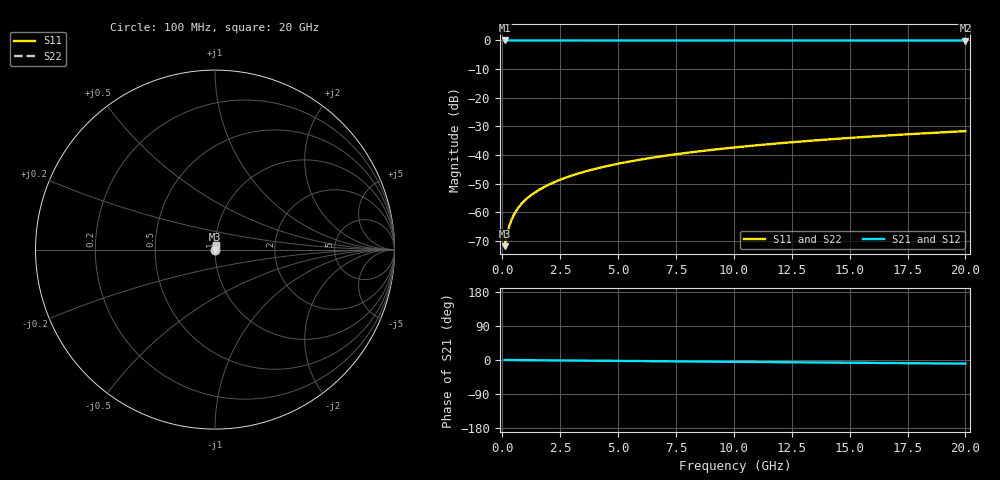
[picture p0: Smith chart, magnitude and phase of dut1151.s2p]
! Touchstone file exported from HFSS 2026.1.0
!  File:  C:/ffzhzh/LocalFiles/Ansys_Project_Files/temp_train_TSV_1151_1783191568_55132.aedt
!  Generated:  03:00:52 AM Jul  5, 2026
!  Design:  TSV
!  Project:  temp_train_TSV_1151_1783191568_55132
! Variables:
!  h_bsmrdl = 2um
!  h_ox = 20um
!  h_rdl = 5um
!  h_sub = 96.2um
!  h_tmrdl = 5um
!  h_tsv = 96.2um
!  h_via = 3um
!  l_bsmrdl = 300um
!  l_sub = 417.5um
!  l_tmrdl = 200um
!  m_sub = 200um
!  pitch = 43.16um
!  r_tsv = 8.75um
!  s_tmrdl = 10um
!  w_bsmrdl = 18um
!  w_sub = 500um
!  w_tmrdl = 12um
!  x_tsv_center1 = 206um
!  x_tsv_center2 = 524um
!  x_tsv_center3 = 736um
!  x_tsv_center4 = 1054um
!  x_tsv_center5 = 1266um
!  x_tsv_center6 = 1584um
# GHz S MA R 50.000000
! Terminal data exported
! Port[1] = TSV1_1_T1
! Port[2] = TSV1_1_T2
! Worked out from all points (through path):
!   200 points, 100 MHz to 20 GHz, reference 50 ohm
!   highest |S21| = 0.00 dB at 100 MHz (marker M1); lowest = 0.0 dB at 20 GHz (marker M2)
!   group delay of S21, straight-line fit = 1.32 ps
!   lowest |S11| = -71.9 dB at 100 MHz (marker M3), VSWR 1.00, Z = 50 + j0.0181 ohm
!   |S11| at or under -10 dB: start of sweep to end of sweep
!   |S22| runs from -71.9 to -31.7 dB; largest |S21 - S12| = 2.5e-15
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0.1  0.0002555 45.0  0.9998 -0.1  0.9998 -0.1  0.0002555 45.0
! Gamma 0 0 0 0
! Port Impedance 50 0 50 0
0.2  0.0004078 61.7  0.9998 -0.1  0.9998 -0.1  0.0004078 61.7
0.3  0.0005735 68.1  0.9998 -0.2  0.9998 -0.2  0.0005735 68.1
0.4  0.0007392 71.2  0.9998 -0.2  0.9998 -0.2  0.0007392 71.2
0.5  0.0009011 72.9  0.9997 -0.3  0.9997 -0.3  0.0009011 72.9
0.6  0.001058 73.9  0.9997 -0.3  0.9997 -0.3  0.001058 73.9
0.7  0.001211 74.6  0.9997 -0.3  0.9997 -0.3  0.001211 74.6
0.8  0.001359 75.1  0.9997 -0.4  0.9997 -0.4  0.001359 75.1
1  0.001647 75.9  0.9996 -0.5  0.9996 -0.5  0.001647 75.9
1.4  0.002201 77.3  0.9995 -0.7  0.9995 -0.7  0.002201 77.3
1.7  0.00261 78.1  0.9995 -0.8  0.9995 -0.8  0.00261 78.1
2  0.003017 78.8  0.9995 -1.0  0.9995 -1.0  0.003017 78.8
2.7  0.003964 79.9  0.9994 -1.3  0.9994 -1.3  0.003964 79.9
3.5  0.00504 80.5  0.9993 -1.7  0.9993 -1.7  0.00504 80.5
4.2  0.005975 80.8  0.9992 -2.0  0.9992 -2.0  0.005975 80.8
5  0.007034 80.9  0.9992 -2.4  0.9992 -2.4  0.007034 80.9
6.8  0.009388 80.9  0.999 -3.3  0.999 -3.3  0.009388 80.9
8.3  0.01133 80.6  0.9989 -4.0  0.9989 -4.0  0.01133 80.6
10.1  0.01364 80.2  0.9987 -4.8  0.9987 -4.8  0.01364 80.2
13.4  0.01784 79.3  0.9985 -6.4  0.9985 -6.4  0.01784 79.3
16.7  0.02199 78.1  0.9983 -8.0  0.9983 -8.0  0.02199 78.1
20  0.02609 76.8  0.998 -9.5  0.998 -9.5  0.02609 76.8
